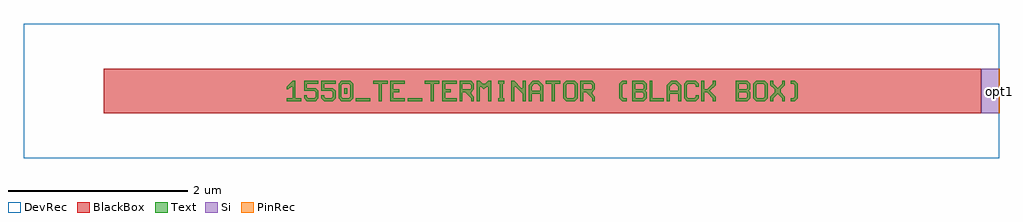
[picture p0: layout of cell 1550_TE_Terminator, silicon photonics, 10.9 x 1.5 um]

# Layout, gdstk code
import gdstk
lib = gdstk.Library(unit=1e-6, precision=1e-09)
def R(c, l, rs):  # rectangles x0, y0, x1, y1
    for r in rs: c.add(gdstk.rectangle(r[:2], r[2:], *l))
def P(c, l, *ps):  # polygons
    for p in ps: c.add(gdstk.Polygon(p, *l))
Si = (1, 0)
PinRec = (1, 10)
Text = (10, 0)
DevRec = (68, 0)
BlackBox = (998, 0)

text = lib.new_cell('TEXT')
R(text, Text, [(0.772,0,0.933,0.032), (1.351,0,1.512,0.032), (0.643,0.08,0.675,0.145)])
P(text, Text, [(0,0),(0,0.032),(0.064,0.032),(0.064,0.161),(0.048,0.161),(0.016,0.129),(0,0.129),(0,0.161),(0.064,0.225),(0.096,0.225),(0.096,0.032),(0.161,0.032),(0.161,0)],
  [(0.225,0),(0.193,0.032),(0.193,0.064),(0.225,0.064),(0.225,0.048),(0.241,0.032),(0.306,0.032),(0.322,0.048),(0.322,0.096),(0.306,0.113),(0.193,0.113),(0.193,0.225),(0.354,0.225),(0.354,0.193),(0.225,0.193),(0.225,0.145),(0.322,0.145),(0.354,0.113),(0.354,0.032),(0.322,0)],
  [(0.418,0),(0.386,0.032),(0.386,0.064),(0.418,0.064),(0.418,0.048),(0.434,0.032),(0.499,0.032),(0.515,0.048),(0.515,0.096),(0.499,0.113),(0.386,0.113),(0.386,0.225),(0.547,0.225),(0.547,0.193),(0.418,0.193),(0.418,0.145),(0.515,0.145),(0.547,0.113),(0.547,0.032),(0.515,0)],
  [(0.611,0),(0.579,0.032),(0.579,0.193),(0.611,0.225),(0.708,0.225),(0.74,0.193),(0.627,0.193),(0.611,0.177),(0.611,0.048),(0.627,0.032),(0.692,0.032),(0.708,0.048),(0.708,0.177),(0.692,0.193),(0.74,0.193),(0.74,0.032),(0.708,0)],
  [(1.029,0),(1.029,0.193),(0.965,0.193),(0.965,0.225),(1.126,0.225),(1.126,0.193),(1.061,0.193),(1.061,0)],
  [(1.158,0),(1.158,0.225),(1.319,0.225),(1.319,0.193),(1.19,0.193),(1.19,0.129),(1.254,0.129),(1.254,0.096),(1.19,0.096),(1.19,0.032),(1.319,0.032),(1.319,0)],
  [(1.608,0),(1.608,0.193),(1.544,0.193),(1.544,0.225),(1.705,0.225),(1.705,0.193),(1.64,0.193),(1.64,0)],
  [(1.737,0),(1.737,0.225),(1.898,0.225),(1.898,0.193),(1.769,0.193),(1.769,0.129),(1.833,0.129),(1.833,0.096),(1.769,0.096),(1.769,0.032),(1.898,0.032),(1.898,0)],
  [(1.93,0),(1.93,0.225),(2.059,0.225),(2.091,0.193),(1.962,0.193),(1.962,0.129),(2.043,0.129),(2.059,0.145),(2.059,0.177),(2.043,0.193),(2.091,0.193),(2.091,0.129),(2.059,0.096),(2.059,0.08),(2.091,0.048),(2.091,0),(2.059,0),(2.059,0.032),(1.994,0.096),(1.962,0.096),(1.962,0)],
  [(2.123,0),(2.123,0.225),(2.155,0.225),(2.187,0.193),(2.219,0.193),(2.252,0.225),(2.284,0.225),(2.284,0),(2.252,0),(2.252,0.161),(2.236,0.161),(2.203,0.129),(2.171,0.161),(2.155,0.161),(2.155,0)],
  [(2.364,0),(2.364,0.032),(2.38,0.032),(2.38,0.193),(2.364,0.193),(2.364,0.225),(2.429,0.225),(2.429,0.193),(2.412,0.193),(2.412,0.032),(2.429,0.032),(2.429,0)],
  [(2.509,0),(2.509,0.225),(2.541,0.225),(2.622,0.145),(2.638,0.145),(2.638,0.225),(2.67,0.225),(2.67,0),(2.638,0),(2.638,0.08),(2.557,0.161),(2.541,0.161),(2.541,0)],
  [(2.702,0),(2.702,0.177),(2.75,0.225),(2.815,0.225),(2.847,0.193),(2.766,0.193),(2.734,0.161),(2.734,0.113),(2.831,0.113),(2.831,0.161),(2.798,0.193),(2.847,0.193),(2.863,0.177),(2.863,0),(2.831,0),(2.831,0.08),(2.734,0.08),(2.734,0)],
  [(2.959,0),(2.959,0.193),(2.895,0.193),(2.895,0.225),(3.056,0.225),(3.056,0.193),(2.991,0.193),(2.991,0)],
  [(3.12,0),(3.088,0.032),(3.088,0.193),(3.12,0.225),(3.217,0.225),(3.249,0.193),(3.249,0.113),(3.217,0.113),(3.217,0.177),(3.201,0.193),(3.136,0.193),(3.12,0.177),(3.12,0.048),(3.136,0.032),(3.201,0.032),(3.217,0.048),(3.217,0.113),(3.249,0.113),(3.249,0.032),(3.217,0)],
  [(3.281,0),(3.281,0.225),(3.41,0.225),(3.442,0.193),(3.313,0.193),(3.313,0.129),(3.394,0.129),(3.41,0.145),(3.41,0.177),(3.394,0.193),(3.442,0.193),(3.442,0.129),(3.41,0.096),(3.41,0.08),(3.442,0.048),(3.442,0),(3.41,0),(3.41,0.032),(3.345,0.096),(3.313,0.096),(3.313,0)],
  [(3.747,0),(3.715,0.032),(3.715,0.193),(3.747,0.225),(3.796,0.225),(3.796,0.193),(3.763,0.193),(3.747,0.177),(3.747,0.048),(3.763,0.032),(3.796,0.032),(3.796,0)],
  [(3.86,0),(3.86,0.225),(3.989,0.225),(4.021,0.193),(3.892,0.193),(3.892,0.129),(3.973,0.129),(3.989,0.145),(3.989,0.177),(3.973,0.193),(4.021,0.193),(4.021,0.129),(4.005,0.113),(4.021,0.096),(3.892,0.096),(3.892,0.032),(3.973,0.032),(3.989,0.048),(3.989,0.08),(3.973,0.096),(4.021,0.096),(4.021,0.032),(3.989,0)],
  [(4.053,0),(4.053,0.225),(4.085,0.225),(4.085,0.032),(4.214,0.032),(4.214,0)],
  [(4.246,0),(4.246,0.177),(4.294,0.225),(4.359,0.225),(4.391,0.193),(4.31,0.193),(4.278,0.161),(4.278,0.113),(4.375,0.113),(4.375,0.161),(4.342,0.193),(4.391,0.193),(4.407,0.177),(4.407,0),(4.375,0),(4.375,0.08),(4.278,0.08),(4.278,0)],
  [(4.471,0),(4.439,0.032),(4.439,0.193),(4.471,0.225),(4.568,0.225),(4.6,0.193),(4.6,0.161),(4.568,0.161),(4.568,0.177),(4.552,0.193),(4.487,0.193),(4.471,0.177),(4.471,0.048),(4.487,0.032),(4.552,0.032),(4.568,0.048),(4.568,0.064),(4.6,0.064),(4.6,0.032),(4.568,0)],
  [(4.632,0),(4.632,0.225),(4.664,0.225),(4.664,0.129),(4.696,0.129),(4.761,0.193),(4.761,0.225),(4.793,0.225),(4.793,0.177),(4.728,0.113),(4.793,0.048),(4.793,0),(4.761,0),(4.761,0.032),(4.696,0.096),(4.664,0.096),(4.664,0)],
  [(5.018,0),(5.018,0.225),(5.147,0.225),(5.179,0.193),(5.05,0.193),(5.05,0.129),(5.131,0.129),(5.147,0.145),(5.147,0.177),(5.131,0.193),(5.179,0.193),(5.179,0.129),(5.163,0.113),(5.179,0.096),(5.05,0.096),(5.05,0.032),(5.131,0.032),(5.147,0.048),(5.147,0.08),(5.131,0.096),(5.179,0.096),(5.179,0.032),(5.147,0)],
  [(5.243,0),(5.211,0.032),(5.211,0.193),(5.243,0.225),(5.34,0.225),(5.372,0.193),(5.372,0.113),(5.34,0.113),(5.34,0.177),(5.324,0.193),(5.259,0.193),(5.243,0.177),(5.243,0.048),(5.259,0.032),(5.324,0.032),(5.34,0.048),(5.34,0.113),(5.372,0.113),(5.372,0.032),(5.34,0)],
  [(5.404,0),(5.404,0.048),(5.452,0.096),(5.452,0.129),(5.404,0.177),(5.404,0.225),(5.436,0.225),(5.436,0.193),(5.484,0.145),(5.533,0.193),(5.533,0.225),(5.565,0.225),(5.565,0.177),(5.517,0.129),(5.517,0.096),(5.565,0.048),(5.565,0),(5.533,0),(5.533,0.032),(5.484,0.08),(5.436,0.032),(5.436,0)],
  [(5.629,0),(5.629,0.032),(5.661,0.032),(5.677,0.048),(5.677,0.177),(5.661,0.193),(5.629,0.193),(5.629,0.225),(5.677,0.225),(5.71,0.193),(5.71,0.032),(5.677,0)])

c_1550_te_terminator = lib.new_cell('1550_TE_Terminator')
R(c_1550_te_terminator, Si, [(-0.2,-0.25,0,0.25)])
R(c_1550_te_terminator, DevRec, [(-10.9,-0.75,0,0.75)])
R(c_1550_te_terminator, BlackBox, [(-10.005,-0.25,-0.2,0.25)])
c_1550_te_terminator.add(gdstk.FlexPath([(-0.005,0),(0.005,0)], 0.5, ends="flush", simple_path=True, layer=1, datatype=10))  # PinRec
c_1550_te_terminator.add(gdstk.Reference(text, (-7.958,-0.112)))
c_1550_te_terminator.add(gdstk.Label('opt1', (0,0), layer=1, texttype=10))

lib.write_gds('1550_TE_Terminator.gds')
